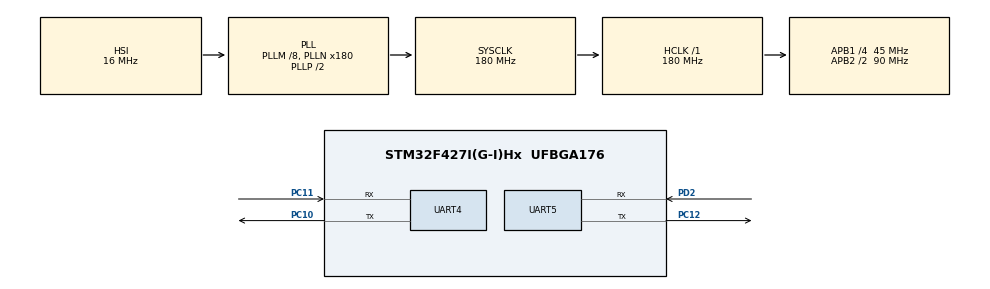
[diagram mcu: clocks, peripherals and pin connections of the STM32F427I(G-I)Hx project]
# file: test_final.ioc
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Mcu.Family=STM32F4
Mcu.Name=STM32F427I(G-I)Hx
Mcu.Package=UFBGA176
NVIC.PriorityGroup=NVIC_PRIORITYGROUP_4
NVIC.UART4_IRQn=true\:0\:0\:false\:false\:true\:true\:true\:true
NVIC.UART5_IRQn=true\:0\:0\:false\:false\:true\:true\:true\:true
PA13.Mode=Serial_Wire
PA13.Signal=SYS_JTMS-SWDIO
PA14.Mode=Serial_Wire
PA14.Signal=SYS_JTCK-SWCLK
PC10.Mode=Asynchronous
PC10.Signal=UART4_TX
PC11.Mode=Asynchronous
PC11.Signal=UART4_RX
PC12.Mode=Asynchronous
PC12.Signal=UART5_TX
PD2.Mode=Asynchronous
PD2.Signal=UART5_RX
PH0/OSC_IN.Mode=HSE-External-Oscillator
PH0/OSC_IN.Signal=RCC_OSC_IN
PH1/OSC_OUT.Mode=HSE-External-Oscillator
PH1/OSC_OUT.Signal=RCC_OSC_OUT
ProjectManager.HeapSize=0x200
ProjectManager.StackSize=0x400
ProjectManager.TargetToolchain=Makefile
RCC.48MHZClocksFreq_Value=90000000
RCC.AHBFreq_Value=180000000
RCC.APB1CLKDivider=RCC_HCLK_DIV4
RCC.APB1Freq_Value=45000000
RCC.APB1TimFreq_Value=90000000
RCC.APB2CLKDivider=RCC_HCLK_DIV2
RCC.APB2Freq_Value=90000000
RCC.APB2TimFreq_Value=180000000
RCC.CortexFreq_Value=180000000
RCC.HCLKFreq_Value=180000000
RCC.HSE_VALUE=25000000
RCC.HSI_VALUE=16000000
RCC.LSE_VALUE=32768
RCC.PLLM=8
RCC.PLLN=180
RCC.SYSCLKFreq_VALUE=180000000
RCC.SYSCLKSource=RCC_SYSCLKSOURCE_PLLCLK
RCC.VCOOutputFreq_Value=360000000
UART4.VirtualMode=Asynchronous
UART5.VirtualMode=Asynchronous
board=custom

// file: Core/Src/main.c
/* USER CODE BEGIN Header */
/**
  ******************************************************************************
  * @file           : main.c
  * @brief          : Main program body
  ******************************************************************************
  * @attention
  *
  * Copyright (c) 2024 STMicroelectronics.
  * All rights reserved.
  *
  * This software is licensed under terms that can be found in the LICENSE file
  * in the root directory of this software component.
  * If no LICENSE file comes with this software, it is provided AS-IS.
  *
  ******************************************************************************
  */
/* USER CODE END Header */
#include "main.h"
#include "usart.h"
#include "gpio.h"

/* USER CODE BEGIN Includes */
#include "wtr_mavlink.h"
/* USER CODE END Includes */

void SystemClock_Config(void);

/* USER CODE BEGIN 0 */
mavlink_speed_t SPEEDStructToBeSend, SPEEDStructReceived;

/* USER CODE END 0 */

int main(void)
{

  /* MCU Configuration--------------------------------------------------------*/

  /* Reset of all peripherals, Initializes the Flash interface and the Systick. */
  HAL_Init();

  /* Configure the system clock */
  SystemClock_Config();

  /* Initialize all configured peripherals */
  MX_GPIO_Init();
  MX_UART4_Init();
  MX_UART5_Init();
  /* USER CODE BEGIN 2 */
  SPEEDStructToBeSend.vx = 0;
SPEEDStructToBeSend.vy = 0;
SPEEDStructToBeSend.vz = 0;
  //绑定通道与串口
  wtrMavlink_BindChannel(&huart4, MAVLINK_COMM_0);
  wtrMavlink_BindChannel(&huart5, MAVLINK_COMM_1);

  //使能
  wtrMavlink_StartReceiveIT(MAVLINK_COMM_0);
  wtrMavlink_StartReceiveIT(MAVLINK_COMM_1);

  /* USER CODE END 2 */

  /* Infinite loop */
  while (1)
  {

    /* USER CODE BEGIN 3 */

    //模拟变化量
    SPEEDStructToBeSend.vx +=1;
    SPEEDStructToBeSend.vy +=1;
    SPEEDStructToBeSend.vz +=1;

    mavlink_msg_speed_send_struct(MAVLINK_COMM_0, &SPEEDStructToBeSend);
    HAL_Delay(500);
  }
  /* USER CODE END 3 */
}

void SystemClock_Config(void)
{
  RCC_OscInitTypeDef RCC_OscInitStruct = {0};
  RCC_ClkInitTypeDef RCC_ClkInitStruct = {0};

  /** Configure the main internal regulator output voltage
  */
  __HAL_RCC_PWR_CLK_ENABLE();
  __HAL_PWR_VOLTAGESCALING_CONFIG(PWR_REGULATOR_VOLTAGE_SCALE1);

  /** Initializes the RCC Oscillators according to the specified parameters
  * in the RCC_OscInitTypeDef structure.
  */
  RCC_OscInitStruct.OscillatorType = RCC_OSCILLATORTYPE_HSI;
  RCC_OscInitStruct.HSIState = RCC_HSI_ON;
  RCC_OscInitStruct.HSICalibrationValue = RCC_HSICALIBRATION_DEFAULT;
  RCC_OscInitStruct.PLL.PLLState = RCC_PLL_ON;
  RCC_OscInitStruct.PLL.PLLSource = RCC_PLLSOURCE_HSI;
  RCC_OscInitStruct.PLL.PLLM = 8;
  RCC_OscInitStruct.PLL.PLLN = 180;
  RCC_OscInitStruct.PLL.PLLP = RCC_PLLP_DIV2;
  RCC_OscInitStruct.PLL.PLLQ = 4;
  if (HAL_RCC_OscConfig(&RCC_OscInitStruct) != HAL_OK)
  {
    Error_Handler();
  }

  /** Activate the Over-Drive mode
  */
  if (HAL_PWREx_EnableOverDrive() != HAL_OK)
  {
    Error_Handler();
  }

  /** Initializes the CPU, AHB and APB buses clocks
  */
  RCC_ClkInitStruct.ClockType = RCC_CLOCKTYPE_HCLK|RCC_CLOCKTYPE_SYSCLK
                              |RCC_CLOCKTYPE_PCLK1|RCC_CLOCKTYPE_PCLK2;
  RCC_ClkInitStruct.SYSCLKSource = RCC_SYSCLKSOURCE_PLLCLK;
  RCC_ClkInitStruct.AHBCLKDivider = RCC_SYSCLK_DIV1;
  RCC_ClkInitStruct.APB1CLKDivider = RCC_HCLK_DIV4;
  RCC_ClkInitStruct.APB2CLKDivider = RCC_HCLK_DIV2;

  if (HAL_RCC_ClockConfig(&RCC_ClkInitStruct, FLASH_LATENCY_5) != HAL_OK)
  {
    Error_Handler();
  }
}

/* USER CODE BEGIN 4 */

void HAL_UART_RxCpltCallback(UART_HandleTypeDef *huart)
{
    // 接收通道的消息
    wtrMavlink_UARTRxCpltCallback(huart, MAVLINK_COMM_1);
}

void wtrMavlink_MsgRxCpltCallback(mavlink_message_t *msg)
{
    switch (msg->msgid) {
        case MAVLINK_MSG_ID_SPEED:
            // 将接收到的消息解码
            mavlink_msg_speed_decode(msg, &SPEEDStructReceived);
            break;
        default:
            break;
    }
}

/* USER CODE END 4 */

void Error_Handler(void)
{
  __disable_irq();
  while (1)
  {
  }
}
